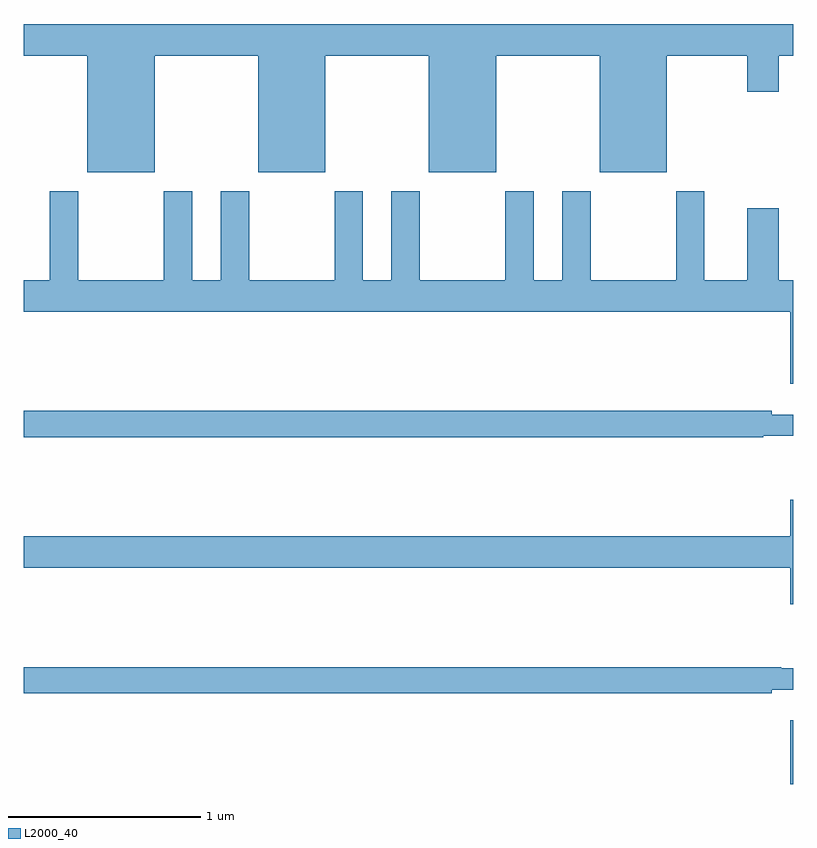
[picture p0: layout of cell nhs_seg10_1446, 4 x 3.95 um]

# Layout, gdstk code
import gdstk
lib = gdstk.Library(unit=1e-6, precision=1e-09)
def R(c, l, rs):  # rectangles x0, y0, x1, y1
    for r in rs: c.add(gdstk.rectangle(r[:2], r[2:], *l))
def P(c, l, *ps):  # polygons
    for p in ps: c.add(gdstk.Polygon(p, *l))
L2000_40 = (2000, 40)

nhs_seg10_1446 = lib.new_cell('nhs_seg10_1446')
R(nhs_seg10_1446, L2000_40, [(188.984,1324.5,189,1324.831)])
P(nhs_seg10_1446, L2000_40, [(185.68,1328.288),(186.218,1328.288),(186.218,1327.682),(186.568,1327.682),(186.568,1328.288),(187.106,1328.288),(187.106,1327.682),(187.456,1327.682),(187.456,1328.288),(187.994,1328.288),(187.994,1327.682),(188.344,1327.682),(188.344,1328.288),(188.762,1328.288),(188.762,1328.1),(188.926,1328.1),(188.926,1328.288),(189,1328.288),(189,1328.452),(185,1328.452),(185,1328.288),(185.33,1328.288),(185.33,1327.682),(185.68,1327.682)],
  [(189,1327.12),(188.926,1327.12),(188.926,1327.495),(188.762,1327.495),(188.762,1327.12),(188.539,1327.12),(188.539,1327.582),(188.392,1327.582),(188.392,1327.12),(187.947,1327.12),(187.947,1327.582),(187.799,1327.582),(187.799,1327.12),(187.651,1327.12),(187.651,1327.582),(187.504,1327.582),(187.504,1327.12),(187.059,1327.12),(187.059,1327.582),(186.911,1327.582),(186.911,1327.12),(186.763,1327.12),(186.763,1327.582),(186.616,1327.582),(186.616,1327.12),(186.171,1327.12),(186.171,1327.582),(186.023,1327.582),(186.023,1327.12),(185.875,1327.12),(185.875,1327.582),(185.728,1327.582),(185.728,1327.12),(185.283,1327.12),(185.283,1327.582),(185.135,1327.582),(185.135,1327.12),(185,1327.12),(185,1326.956),(188.984,1326.956),(188.984,1326.582),(189,1326.582)],
  [(188.845,1326.312),(189,1326.312),(189,1326.421),(188.888,1326.421),(188.888,1326.44),(185,1326.44),(185,1326.304),(188.845,1326.304)],
  [(189,1325.977),(188.984,1325.977),(188.984,1325.788),(185,1325.788),(185,1325.624),(188.984,1325.624),(188.984,1325.436),(189,1325.436)],
  [(188.888,1324.991),(189,1324.991),(189,1325.101),(188.938,1325.101),(188.938,1325.108),(185,1325.108),(185,1324.972),(188.888,1324.972)])

lib.write_gds('nhs_seg10_1446.gds')
